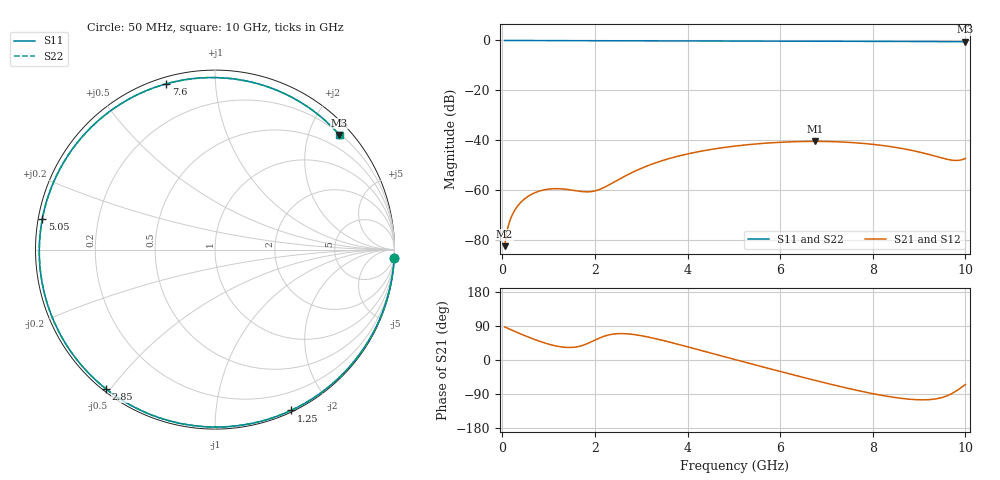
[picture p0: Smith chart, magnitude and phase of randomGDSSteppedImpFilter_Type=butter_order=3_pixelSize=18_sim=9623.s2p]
! freq	dB(S11)	phase(S11)	dB(S12)	phase(S12)
!  dB(S21)	phase(S21)	dB(S22)	phase(S22)
!S-par simulation data
#  GHz  S  DB  R 50
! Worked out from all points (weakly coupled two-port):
!   200 points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, 50 MHz to 10 GHz, reference 50 ohm
!   highest |S21| = -40.42 dB at 6.75 GHz (marker M1); lowest = -82.4 dB at 50 MHz (marker M2)
!   lowest |S11| = -0.5 dB at 10 GHz (marker M3), VSWR 33.80, Z = 11.1 + j127 ohm
!   |S11| at or under -10 dB: nowhere
!   |S22| runs from -0.5 to 0.0 dB; largest |S21 - S12| = 0
!   S11 on the Smith chart (normalised r, x): 50 MHz: 0, -42; 1.25 GHz: 0.02, -1.58; 2.85 GHz: 0.01, -0.49; 5.05 GHz: 0.01, +0.09; 7.6 GHz: 0.03, +0.75; 10 GHz: 0.22, +2.54
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0.05  -0.00 -2.8  -82.39 87.2  -82.39 87.2  -0.00 -2.8
0.15  -0.01 -8.2  -72.92 81.9  -72.92 81.9  -0.01 -8.2
0.2  -0.02 -10.9  -70.47 79.2  -70.47 79.2  -0.02 -10.9
0.3  -0.02 -16.3  -67.11 73.9  -67.11 73.9  -0.02 -16.3
0.45  -0.03 -24.4  -63.94 66.1  -63.94 66.1  -0.03 -24.4
0.6  -0.04 -32.3  -61.94 58.7  -61.94 58.7  -0.04 -32.3
0.8  -0.05 -42.6  -60.33 49.6  -60.33 49.6  -0.05 -42.6
1.25  -0.08 -64.7  -59.40 35.0  -59.40 35.0  -0.08 -64.7
1.75  -0.10 -86.9  -60.58 39.1  -60.58 39.1  -0.10 -86.9
2.1  -0.11 -101.1  -59.68 58.0  -59.68 58.0  -0.11 -101.1
2.85  -0.13 -128.0  -52.47 67.0  -52.47 67.0  -0.13 -128.0
3.4  -0.14 -145.3  -48.46 53.6  -48.46 53.6  -0.14 -145.3
4.2  -0.17 -168.0  -44.68 28.3  -44.68 28.3  -0.17 -168.0
5.05  -0.20 169.9  -42.25 0.4  -42.25 0.4  -0.20 169.8
5.85  -0.24 150.0  -40.94 -25.4  -40.94 -25.4  -0.24 149.9
6.7  -0.28 129.0  -40.42 -52.1  -40.42 -52.1  -0.28 128.9
6.75  -0.28 127.8  -40.42 -53.7  -40.42 -53.7  -0.28 127.7
7.6  -0.33 106.4  -40.96 -78.5  -40.96 -78.5  -0.33 106.4
8.35  -0.38 87.1  -42.43 -96.5  -42.43 -96.5  -0.38 87.0
9  -0.42 69.8  -44.68 -105.0  -44.68 -105.0  -0.42 69.7
9.7  -0.48 50.9  -47.93 -89.0  -47.93 -89.0  -0.48 50.8
10  -0.51 42.7  -47.27 -64.8  -47.27 -64.8  -0.51 42.6
